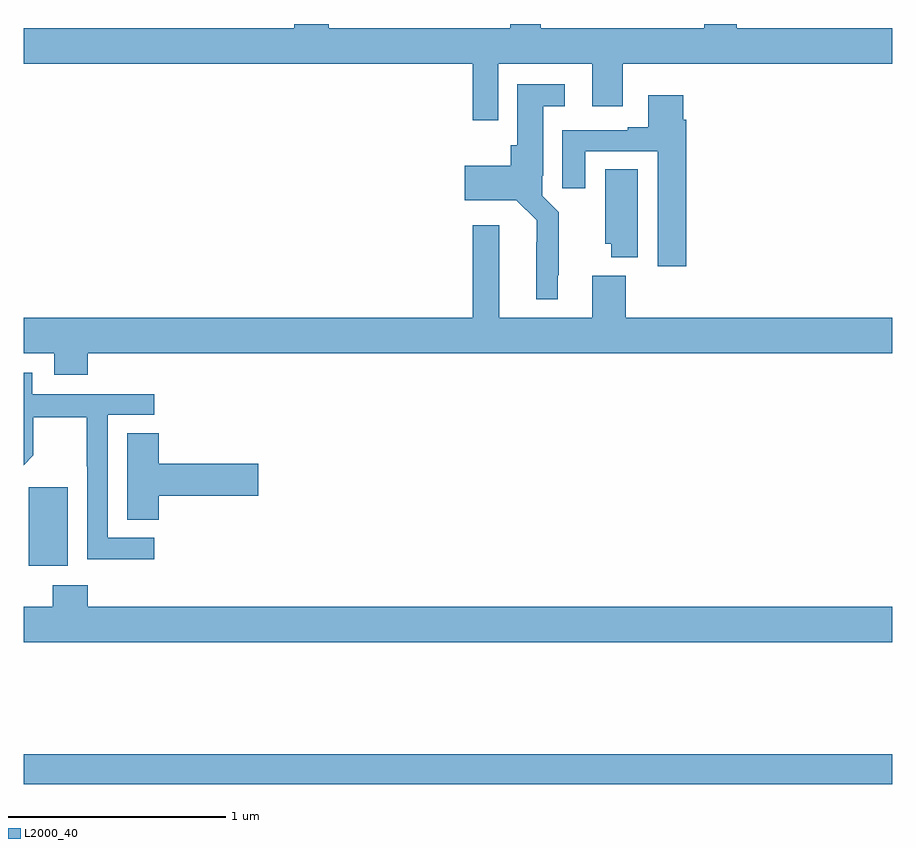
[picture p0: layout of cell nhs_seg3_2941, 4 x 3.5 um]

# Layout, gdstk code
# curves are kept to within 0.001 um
import gdstk
lib = gdstk.Library(unit=1e-6, precision=1e-09)
def R(c, l, rs):  # rectangles x0, y0, x1, y1
    for r in rs: c.add(gdstk.rectangle(r[:2], r[2:], *l))
def P(c, l, *ps):  # polygons
    for p in ps: c.add(gdstk.Polygon(p, *l))
L2000_40 = (2000, 40)

nhs_seg3_2941 = lib.new_cell('nhs_seg3_2941')
R(nhs_seg3_2941, L2000_40, [(263,730.9,267,731.036), (263.024,731.906,263.203,732.267)])
P(nhs_seg3_2941, L2000_40, [(265.185,734.216),(265.619,734.216),(265.619,734.022),(265.759,734.022),(265.759,734.216),(267,734.216),(267,734.38),(266.283,734.38),(266.283,734.4),(266.135,734.4),(266.135,734.38),(265.381,734.38),(265.381,734.4),(265.241,734.4),(265.241,734.38),(264.405,734.38),(264.405,734.4),(264.245,734.4),(264.245,734.38),(263,734.38),(263,734.216),(265.069,734.216),(265.069,733.956),(265.185,733.956)],
  [(265.459,733.243),(265.463,733.243),(265.463,733.534),(265.389,733.608),(265.389,733.702),(265.393,733.702),(265.393,734.021),(265.492,734.021),(265.492,734.122),(265.274,734.122),(265.274,733.842),(265.244,733.842),(265.244,733.747),(265.032,733.747),(265.032,733.589),(265.269,733.589),(265.362,733.496),(265.361,733.133),(265.459,733.133)],
  [(266.051,733.958),(266.038,733.958),(266.038,734.071),(265.877,734.071),(265.877,733.924),(265.781,733.924),(265.781,733.911),(265.481,733.911),(265.481,733.644),(265.585,733.644),(265.585,733.815),(265.919,733.815),(265.919,733.284),(266.051,733.284)],
  [(265.828,733.73),(265.679,733.73),(265.679,733.389),(265.706,733.389),(265.706,733.325),(265.828,733.325)],
  [(263.294,732.884),(267,732.884),(267,733.048),(265.772,733.048),(265.772,733.24),(265.619,733.24),(265.619,733.048),(265.189,733.048),(265.189,733.474),(265.067,733.474),(265.067,733.048),(263,733.048),(263,732.884),(263.141,732.884),(263.141,732.785),(263.294,732.785)],
  [(263.602,732.033),(263.388,732.033),(263.388,732.6),(263.602,732.6),(263.602,732.696),(263.04,732.696),(263.04,732.793),(263,732.793),(263,732.368),(263.045,732.413),(263.045,732.588),(263.29,732.588),(263.29,732.364),(263.292,732.364),(263.292,731.935),(263.602,731.935)],
  [(263.621,732.227),(264.079,732.227),(264.079,732.374),(263.621,732.374),(263.621,732.515),(263.477,732.515),(263.477,732.118),(263.621,732.118)],
  [(267,731.716),(263.294,731.716),(263.294,731.815),(263.134,731.815),(263.134,731.716),(263,731.716),(263,731.552),(267,731.552)])

lib.write_gds('nhs_seg3_2941.gds')
